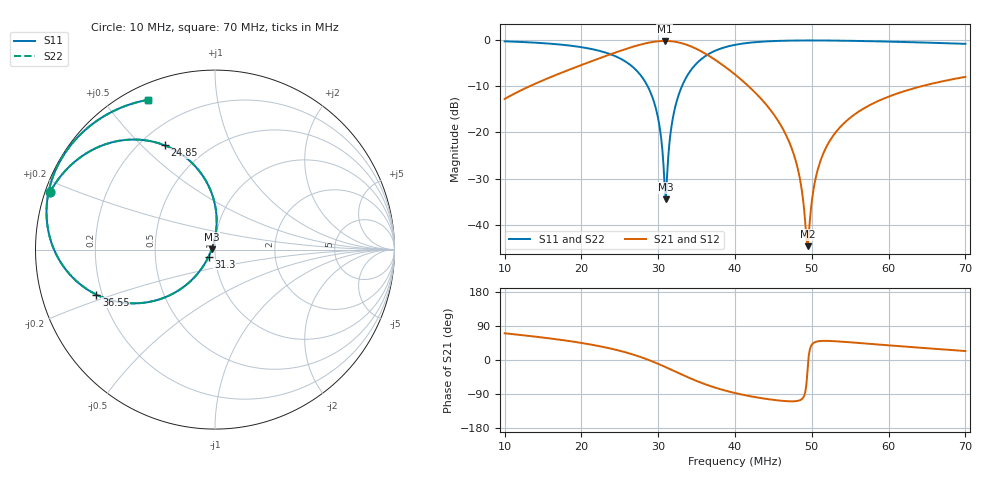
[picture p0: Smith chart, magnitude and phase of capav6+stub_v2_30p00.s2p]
! Touchstone file exported from HFSS 2025.2.0
!  File:  C:/Users/32474/OneDrive - UCL/Documents/Ingenieur/MASTER1/Stage/HFSS/capav6+stub.aedt
!  Generated:  07:28:09 PM Jul 17, 2026
!  Design:  HFSSDesign1
!  Project:  capav6+stub
!  Setup:  Setup4
!  Solution:  Sweep
# GHz S MA R 50.000000
! Terminal data exported
! Port[1] = capa_30p00_v2_1_1
! Port[2] = capa_30p00_v2_1_2
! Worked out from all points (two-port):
!   401 points, 10 MHz to 70 MHz, reference 50 ohm
!   highest |S21| = -0.16 dB at 30.85 MHz (marker M1); lowest = -44.7 dB at 49.45 MHz (marker M2)
!   |S21| within 3 dB of the highest: 23.61 MHz to 36.38 MHz (12.77 MHz wide, 42.6 % of centre)
!   lowest |S11| = -34.5 dB at 31 MHz (marker M3), VSWR 1.04, Z = 48.2 + j0.11 ohm
!   |S11| at or under -10 dB: 28.63 MHz to 33.08 MHz (4.453 MHz wide, 14.4 % of centre)
!   |S22| runs from -34.7 to -0.1 dB; largest |S21 - S12| = 1.9e-15
!   S11 on the Smith chart (normalised r, x): 10 MHz: 0.01, +0.17; 24.85 MHz: 0.29, +0.59; 31.3 MHz: 0.93, -0.07; 36.55 MHz: 0.18, -0.18; 70 MHz: 0.06, +0.65
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0.01  0.9728 160.6  0.2306 70.5  0.2306 70.5  0.9728 160.6
! Gamma 4.27662624404025E-05 0.209627374560502 4.35419025780319E-05 0.209628192553904
! Port Impedance 50 0 50 0
0.02005  0.8391 135.1  0.5402 44.9  0.5402 44.9  0.8391 135.1
0.02485  0.6456 115.8  0.7561 25.1  0.7561 25.1  0.6456 115.8
0.0283  0.3543 95.6  0.9225 3.6  0.9225 3.6  0.3543 95.6
0.0301  0.1266 86.3  0.9759 -11.1  0.9759 -11.1  0.1266 86.2
0.03085  0.02474 118.2  0.9822 -17.7  0.9822 -17.7  0.02457 117.7
0.031  0.01875 176.5  0.982 -19.1  0.982 -19.1  0.01851 176.7
0.0313  0.05333 -132.3  0.9802 -21.9  0.9802 -21.9  0.05324 -132.1
0.0319  0.1419 -125.4  0.9704 -27.4  0.9704 -27.4  0.1419 -125.3
0.0328  0.2755 -130.3  0.9403 -35.8  0.9403 -35.8  0.2754 -130.2
0.0343  0.4787 -142.2  0.8548 -49.4  0.8548 -49.4  0.4787 -142.2
0.03655  0.7068 -159.2  0.682 -67.1  0.682 -67.1  0.7068 -159.2
0.04  0.891 -179.1  0.4247 -87.2  0.4247 -87.2  0.891 -179.1
0.04405  0.9706 164.9  0.2006 -102.6  0.2006 -102.6  0.9706 164.8
0.04675  0.9888 156.8  0.08982 -108.7  0.08982 -108.7  0.9888 156.8
0.04825  0.9929 152.9  0.0379 -107.5  0.0379 -107.5  0.9929 152.9
0.04945  0.9941 150.0  0.005836 -24.6  0.005836 -24.6  0.9941 150.0
0.05005  0.9942 148.6  0.01923 41.7  0.01923 41.7  0.9942 148.6
0.0511  0.9936 146.3  0.04835 50.1  0.04835 50.1  0.9935 146.3
0.0529  0.9907 142.5  0.09499 49.7  0.09499 49.7  0.9907 142.5
0.0601  0.9658 129.4  0.2461 38.6  0.2461 38.6  0.9658 129.3
0.07  0.9138 114.0  0.4006 23.7  0.4006 23.7  0.9138 114.0
